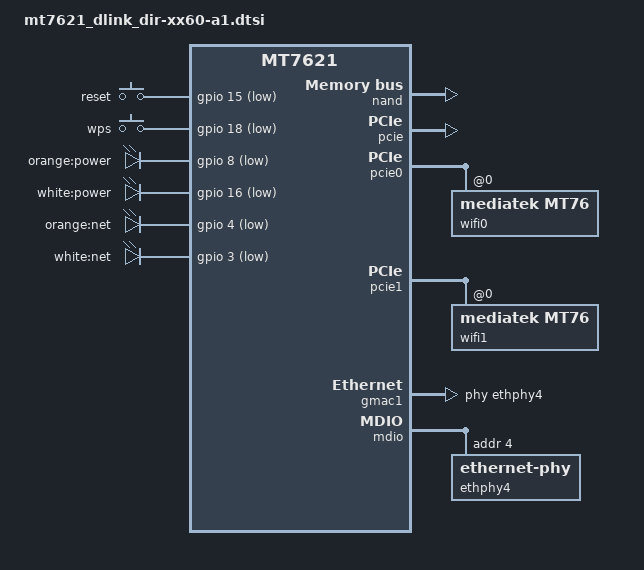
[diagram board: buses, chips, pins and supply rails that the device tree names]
// SPDX-License-Identifier: GPL-2.0-or-later OR MIT

#include "mt7621.dtsi"

#include <dt-bindings/gpio/gpio.h>
#include <dt-bindings/input/input.h>

/ {
	aliases {
		label-mac-device = &gmac0;
		led-boot = &led_power_orange;
		led-failsafe = &led_power_white;
		led-running = &led_power_white;
		led-upgrade = &led_net_orange;
	};

	keys {
		compatible = "gpio-keys";

		reset {
			label = "reset";
			gpios = <&gpio 15 GPIO_ACTIVE_LOW>;
			linux,code = <KEY_RESTART>;
		};

		wps {
			label = "wps";
			gpios = <&gpio 18 GPIO_ACTIVE_LOW>;
			linux,code = <KEY_WPS_BUTTON>;
		};
	};

	leds: leds {
		compatible = "gpio-leds";

		led_power_orange: power_orange {
			label = "orange:power";
			gpios = <&gpio 8 GPIO_ACTIVE_LOW>;
		};

		led_power_white: power_white {
			label = "white:power";
			gpios = <&gpio 16 GPIO_ACTIVE_LOW>;
		};

		led_net_orange: net_orange {
			label = "orange:net";
			gpios = <&gpio 4 GPIO_ACTIVE_LOW>;
		};

		net_white {
			label = "white:net";
			gpios = <&gpio 3 GPIO_ACTIVE_LOW>;
		};
	};
};

&nand {
	status = "okay";

	partitions {
		compatible = "fixed-partitions";
		#address-cells = <1>;
		#size-cells = <1>;

		partition@0 {
			label = "Bootloader";
			reg = <0x0 0x80000>;
			read-only;
		};

		partition@80000 {
			label = "config";
			reg = <0x80000 0x80000>;
			read-only;
		};

		factory: partition@100000 {
			label = "factory";
			reg = <0x100000 0x40000>;
			read-only;
		};

		partition@140000 {
			label = "config2";
			reg = <0x140000 0x40000>;
			read-only;
		};

		partition@180000 {
			label = "firmware";
			compatible = "openwrt,uimage", "denx,uimage";
			openwrt,padding = <96>;
			reg = <0x180000 0x2800000>;
		};

		partition@2980000 {
			label = "private";
			reg = <0x2980000 0x2000000>;
			read-only;
		};

		partition@4980000 {
			label = "firmware2";
			reg = <0x4980000 0x2800000>;
		};

		partition@7180000 {
			label = "mydlink";
			reg = <0x7180000 0x600000>;
			read-only;
		};

		partition@7780000 {
			label = "reserved";
			reg = <0x7780000 0x880000>;
			read-only;
		};
	};
};

&pcie {
	status = "okay";
};

&pcie0 {
	wifi0: wifi@0,0 {
		compatible = "mediatek,mt76";
		reg = <0x0000 0 0 0 0>;
		mediatek,mtd-eeprom = <&factory 0x0000>;
		ieee80211-freq-limit = <2400000 2500000>;

		led {
			led-active-low;
		};
	};
};

&pcie1 {
	wifi1: wifi@0,0 {
		compatible = "mediatek,mt76";
		reg = <0x0000 0 0 0 0>;
		mediatek,mtd-eeprom = <&factory 0x8000>;
		ieee80211-freq-limit = <5000000 6000000>;

		led {
			led-active-low;
		};
	};
};

&gmac0 {
	nvmem-cells = <&macaddr_factory_e000>;
	nvmem-cell-names = "mac-address";
};

&gmac1 {
	status = "okay";
	label = "wan";
	phy-handle = <&ethphy4>;

	nvmem-cells = <&macaddr_factory_e006>;
	nvmem-cell-names = "mac-address";
};

&mdio {
	ethphy4: ethernet-phy@4 {
		reg = <4>;
	};
};

&switch0 {
	ports {
		port@0 {
			status = "okay";
			label = "lan4";
		};

		port@1 {
			status = "okay";
			label = "lan3";
		};

		port@2 {
			status = "okay";
			label = "lan2";
		};

		port@3 {
			status = "okay";
			label = "lan1";
		};
	};
};

&state_default {
	gpio {
		groups = "i2c", "uart3", "jtag", "wdt";
		function = "gpio";
	};
};

&factory {
	compatible = "nvmem-cells";
	#address-cells = <1>;
	#size-cells = <1>;

	macaddr_factory_e000: macaddr@e000 {
		reg = <0xe000 0x6>;
	};

	macaddr_factory_e006: macaddr@e006 {
		reg = <0xe006 0x6>;
	};
};
